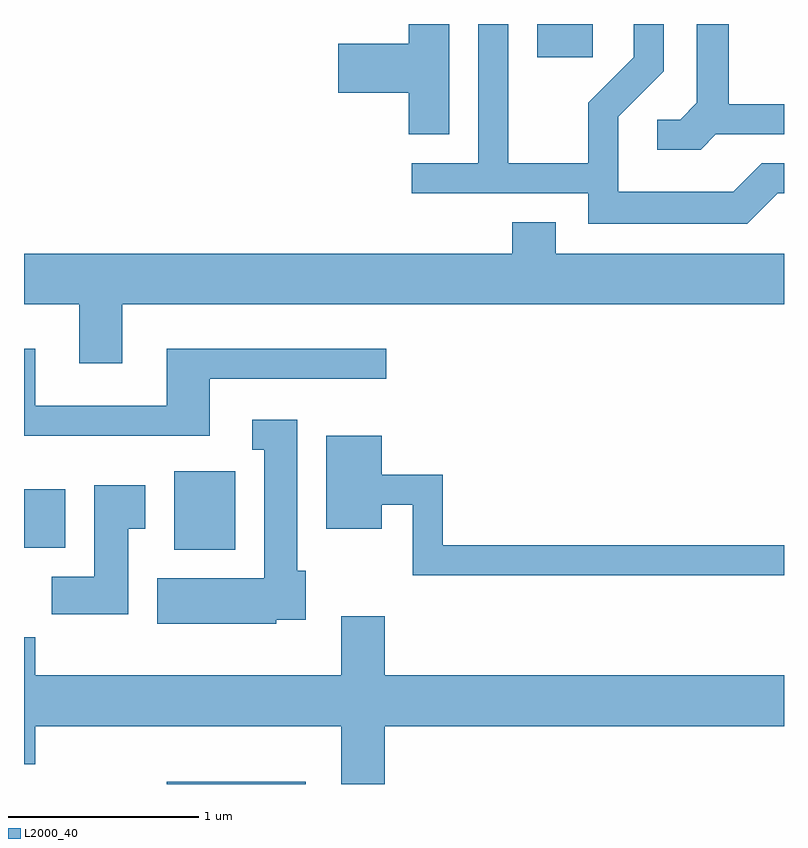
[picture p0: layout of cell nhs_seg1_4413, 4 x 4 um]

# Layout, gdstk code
import gdstk
lib = gdstk.Library(unit=1e-6, precision=1e-09)
def R(c, l, rs):  # rectangles x0, y0, x1, y1
    for r in rs: c.add(gdstk.rectangle(r[:2], r[2:], *l))
def P(c, l, *ps):  # polygons
    for p in ps: c.add(gdstk.Polygon(p, *l))
L2000_40 = (2000, 40)

nhs_seg1_4413 = lib.new_cell('nhs_seg1_4413')
R(nhs_seg1_4413, L2000_40, [(318.361,903.712,319.094,903.724), (318.401,904.946,318.724,905.359), (317.611,904.956,317.829,905.264), (320.311,907.536,320.604,907.712)])
P(nhs_seg1_4413, L2000_40, [(319.849,907.712),(319.636,907.712),(319.636,907.609),(319.266,907.609),(319.266,907.351),(319.636,907.351),(319.636,907.131),(319.849,907.131)],
  [(321.577,906.821),(321.611,906.821),(321.611,906.979),(321.494,906.979),(321.344,906.829),(320.739,906.829),(320.739,907.224),(320.979,907.464),(320.979,907.712),(320.821,907.712),(320.821,907.537),(320.581,907.297),(320.581,906.979),(320.159,906.979),(320.159,907.712),(320.001,907.712),(320.001,906.979),(319.653,906.979),(319.653,906.821),(320.581,906.821),(320.581,906.661),(321.417,906.661)],
  [(321.252,907.131),(321.611,907.131),(321.611,907.289),(321.319,907.289),(321.319,907.712),(321.151,907.712),(321.151,907.297),(321.064,907.209),(320.943,907.209),(320.943,907.051),(321.172,907.051)],
  [(318.129,906.236),(321.611,906.236),(321.611,906.504),(320.409,906.504),(320.409,906.669),(320.181,906.669),(320.181,906.504),(317.611,906.504),(317.611,906.236),(317.901,906.236),(317.901,905.926),(318.129,905.926)],
  [(318.589,905.846),(319.518,905.846),(319.518,906.004),(318.361,906.004),(318.361,905.704),(317.669,905.704),(317.669,906.004),(317.611,906.004),(317.611,905.546),(318.589,905.546)],
  [(318.939,904.576),(319.094,904.576),(319.094,904.834),(319.049,904.834),(319.049,905.629),(318.813,905.629),(318.813,905.471),(318.876,905.471),(318.876,904.794),(318.311,904.794),(318.311,904.556),(318.939,904.556)],
  [(321.611,904.969),(319.814,904.969),(319.814,905.339),(319.494,905.339),(319.494,905.544),(319.201,905.544),(319.201,905.056),(319.494,905.056),(319.494,905.181),(319.656,905.181),(319.656,904.811),(321.611,904.811)],
  [(318.159,905.056),(318.249,905.056),(318.249,905.284),(317.981,905.284),(317.981,904.804),(317.756,904.804),(317.756,904.606),(318.159,904.606)],
  [(319.509,904.016),(321.611,904.016),(321.611,904.284),(319.509,904.284),(319.509,904.594),(319.281,904.594),(319.281,904.284),(317.669,904.284),(317.669,904.484),(317.611,904.484),(317.611,903.816),(317.669,903.816),(317.669,904.016),(319.281,904.016),(319.281,903.712),(319.509,903.712)])

lib.write_gds('nhs_seg1_4413.gds')
